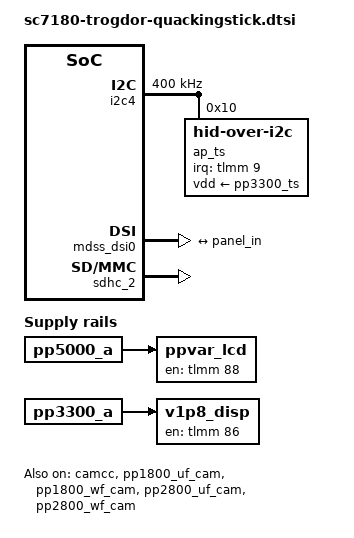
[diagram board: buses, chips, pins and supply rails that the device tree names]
// SPDX-License-Identifier: (GPL-2.0+ OR MIT)
/*
 * Google Quackingstick board device tree source
 *
 * Copyright 2021 Google LLC.
 */

/dts-v1/;

#include "sc7180-trogdor.dtsi"
#include "sc7180-trogdor-rt5682i-sku.dtsi"

/* This board only has 1 USB Type-C port. */
/delete-node/ &usb_c1;

/ {
	ppvar_lcd: ppvar-lcd-regulator {
		compatible = "regulator-fixed";
		regulator-name = "ppvar_lcd";

		gpio = <&tlmm 88 GPIO_ACTIVE_HIGH>;
		enable-active-high;
		pinctrl-names = "default";
		pinctrl-0 = <&ppvar_lcd_en>;

		vin-supply = <&pp5000_a>;
	};

	v1p8_disp: v1p8-disp-regulator {
		compatible = "regulator-fixed";
		regulator-name = "v1p8_disp";

		gpio = <&tlmm 86 GPIO_ACTIVE_HIGH>;
		enable-active-high;
		pinctrl-names = "default";
		pinctrl-0 = <&pp1800_disp_on>;

		vin-supply = <&pp3300_a>;
	};
};

&backlight {
	pwms = <&cros_ec_pwm 0>;
};

&camcc {
	status = "okay";
};

&cros_ec {
	keyboard-controller {
		compatible = "google,cros-ec-keyb-switches";
	};
};

&gpio_keys {
	status = "okay";
};

&i2c4 {
	status = "okay";
	clock-frequency = <400000>;

	ap_ts: touchscreen@10 {
		compatible = "hid-over-i2c";
		reg = <0x10>;
		pinctrl-names = "default";
		pinctrl-0 = <&ts_int_l>, <&ts_reset_l>;

		interrupt-parent = <&tlmm>;
		interrupts = <9 IRQ_TYPE_LEVEL_LOW>;

		panel = <&panel>;
		post-power-on-delay-ms = <20>;
		hid-descr-addr = <0x0001>;

		vdd-supply = <&pp3300_ts>;
	};
};

&mdss_dsi0 {
	panel: panel@0 {
		/* Compatible will be filled in per-board */
		reg = <0>;
		enable-gpios = <&tlmm 87 GPIO_ACTIVE_HIGH>;
		pinctrl-names = "default";
		pinctrl-0 = <&lcd_rst>;
		avdd-supply = <&ppvar_lcd>;
		pp1800-supply = <&v1p8_disp>;
		pp3300-supply = <&pp3300_dx_edp>;
		backlight = <&backlight>;
		rotation = <270>;

		port {
			panel_in: endpoint {
				remote-endpoint = <&mdss_dsi0_out>;
			};
		};
	};

	ports {
		port@1 {
			endpoint {
				remote-endpoint = <&panel_in>;
				data-lanes = <0 1 2 3>;
			};
		};
	};
};

&sdhc_2 {
	status = "okay";
};

&pp1800_uf_cam {
	status = "okay";
};

&pp1800_wf_cam {
	status = "okay";
};

&pp2800_uf_cam {
	status = "okay";
};

&pp2800_wf_cam {
	status = "okay";
};

/*
 * No eDP on this board but it's logically the same signal so just give it
 * a new name and assign the proper GPIO.
 */
pp3300_disp_on: &pp3300_dx_edp {
	gpio = <&tlmm 67 GPIO_ACTIVE_HIGH>;
};

/* PINCTRL - modifications to sc7180-trogdor.dtsi */

/*
 * No eDP on this board but it's logically the same signal so just give it
 * a new name and assign the proper GPIO.
 */

tp_en: &en_pp3300_dx_edp {
	pins = "gpio67";
};

/* PINCTRL - board-specific pinctrl */

&tlmm {
	gpio-line-names = "HUB_RST_L",
			  "AP_RAM_ID0",
			  "AP_SKU_ID2",
			  "AP_RAM_ID1",
			  "",
			  "AP_RAM_ID2",
			  "UF_CAM_EN",
			  "WF_CAM_EN",
			  "TS_RESET_L",
			  "TS_INT_L",
			  "",
			  "",
			  "AP_EDP_BKLTEN",
			  "UF_CAM_MCLK",
			  "WF_CAM_CLK",
			  "EDP_BRIJ_I2C_SDA",
			  "EDP_BRIJ_I2C_SCL",
			  "UF_CAM_SDA",
			  "UF_CAM_SCL",
			  "WF_CAM_SDA",
			  "WF_CAM_SCL",
			  "",
			  "",
			  "AMP_EN",
			  "P_SENSOR_INT_L",
			  "AP_SAR_SENSOR_SDA",
			  "AP_SAR_SENSOR_SCL",
			  "",
			  "HP_IRQ",
			  "WF_CAM_RST_L",
			  "UF_CAM_RST_L",
			  "AP_BRD_ID2",
			  "",
			  "AP_BRD_ID0",
			  "AP_H1_SPI_MISO",
			  "AP_H1_SPI_MOSI",
			  "AP_H1_SPI_CLK",
			  "AP_H1_SPI_CS_L",
			  "",
			  "",
			  "",
			  "",
			  "H1_AP_INT_ODL",
			  "",
			  "UART_AP_TX_DBG_RX",
			  "UART_DBG_TX_AP_RX",
			  "HP_I2C_SDA",
			  "HP_I2C_SCL",
			  "FORCED_USB_BOOT",
			  "",
			  "",
			  "AMP_DIN",
			  "PEN_DET_ODL",
			  "HP_BCLK",
			  "HP_LRCLK",
			  "HP_DOUT",
			  "HP_DIN",
			  "HP_MCLK",
			  "AP_SKU_ID0",
			  "AP_EC_SPI_MISO",
			  "AP_EC_SPI_MOSI",
			  "AP_EC_SPI_CLK",
			  "AP_EC_SPI_CS_L",
			  "AP_SPI_CLK",
			  "AP_SPI_MOSI",
			  "AP_SPI_MISO",
			  /*
			   * AP_FLASH_WP_L is crossystem ABI. Schematics
			   * call it BIOS_FLASH_WP_L.
			   */
			  "AP_FLASH_WP_L",
			  "EN_PP3300_DX_EDP",
			  "AP_SPI_CS0_L",
			  "SD_CD_ODL",
			  "",
			  "",
			  "",
			  "",
			  "",
			  "UIM2_DATA",
			  "UIM2_CLK",
			  "UIM2_RST",
			  "UIM2_PRESENT_L",
			  "UIM1_DATA",
			  "UIM1_CLK",
			  "UIM1_RST",
			  "",
			  "CODEC_PWR_EN",
			  "HUB_EN",
			  "",
			  "PP1800_DISP_ON",
			  "LCD_RST",
			  "PPVAR_LCD_EN",
			  "",
			  "AP_SKU_ID1",
			  "AP_RST_REQ",
			  "",
			  "AP_BRD_ID1",
			  "AP_EC_INT_L",
			  "",
			  "",
			  "",
			  "",
			  "",
			  "",
			  "",
			  "",
			  "",
			  "",
			  "",
			  "",
			  "",
			  "",
			  "",
			  "",
			  "",
			  "",
			  "",
			  "",
			  "AP_TS_I2C_SDA",
			  "AP_TS_I2C_SCL",
			  "DP_HOT_PLUG_DET",
			  "EC_IN_RW_ODL";

	lcd_rst: lcd-rst-state {
		pins = "gpio87";
		function = "gpio";
		drive-strength = <2>;
		bias-disable;
	};

	ppvar_lcd_en: ppvar-lcd-en-state {
		pins = "gpio88";
		function = "gpio";
		drive-strength = <2>;
		bias-disable;
	};

	pp1800_disp_on: pp1800-disp-on-state {
		pins = "gpio86";
		function = "gpio";
		drive-strength = <2>;
		bias-disable;
	};
};
